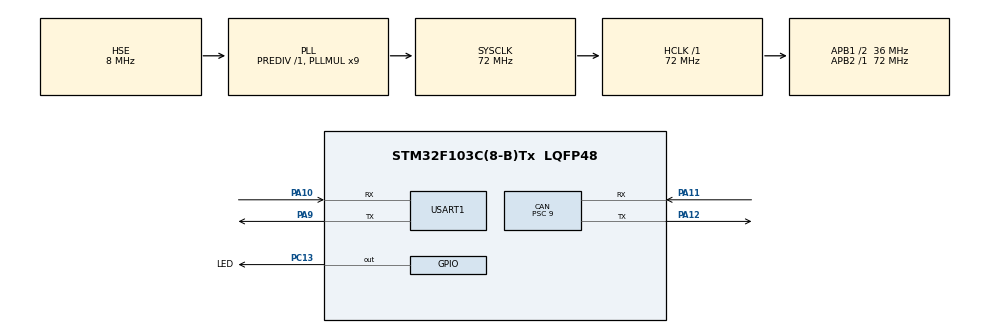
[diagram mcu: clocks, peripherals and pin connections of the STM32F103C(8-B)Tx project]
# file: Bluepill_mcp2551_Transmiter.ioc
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CAN.BS1=CAN_BS1_12TQ
CAN.BS2=CAN_BS2_3TQ
CAN.CalculateBaudRate=250000
CAN.CalculateTimeBit=4000
CAN.CalculateTimeQuantum=250.0
CAN.Prescaler=9
Mcu.Family=STM32F1
Mcu.Name=STM32F103C(8-B)Tx
Mcu.Package=LQFP48
NVIC.CAN1_RX1_IRQn=true\:0\:0\:false\:false\:true\:true\:true\:true
NVIC.PriorityGroup=NVIC_PRIORITYGROUP_4
PA10.Mode=Asynchronous
PA10.Signal=USART1_RX
PA11.Mode=CAN_Activate
PA11.Signal=CAN_RX
PA12.Mode=CAN_Activate
PA12.Signal=CAN_TX
PA13.Mode=Serial_Wire
PA13.Signal=SYS_JTMS-SWDIO
PA14.Mode=Serial_Wire
PA14.Signal=SYS_JTCK-SWCLK
PA9.Mode=Asynchronous
PA9.Signal=USART1_TX
PC13-TAMPER-RTC.GPIO_Label=LED
PC13-TAMPER-RTC.GPIO_ModeDefaultOutputPP=GPIO_MODE_OUTPUT_OD
PC13-TAMPER-RTC.GPIO_PuPd=GPIO_NOPULL
PC13-TAMPER-RTC.PinState=GPIO_PIN_SET
PC13-TAMPER-RTC.Signal=GPIO_Output
PD0-OSC_IN.Mode=HSE-External-Oscillator
PD0-OSC_IN.Signal=RCC_OSC_IN
PD1-OSC_OUT.Mode=HSE-External-Oscillator
PD1-OSC_OUT.Signal=RCC_OSC_OUT
ProjectManager.HeapSize=0x200
ProjectManager.StackSize=0x400
ProjectManager.TargetToolchain=STM32CubeIDE
RCC.AHBFreq_Value=72000000
RCC.APB1CLKDivider=RCC_HCLK_DIV2
RCC.APB1Freq_Value=36000000
RCC.APB1TimFreq_Value=72000000
RCC.APB2Freq_Value=72000000
RCC.APB2TimFreq_Value=72000000
RCC.HCLKFreq_Value=72000000
RCC.PLLMUL=RCC_PLL_MUL9
RCC.PLLSourceVirtual=RCC_PLLSOURCE_HSE
RCC.SYSCLKFreq_VALUE=72000000
RCC.SYSCLKSource=RCC_SYSCLKSOURCE_PLLCLK
RCC.USBFreq_Value=72000000
USART1.VirtualMode=VM_ASYNC
board=custom

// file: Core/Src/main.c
/* USER CODE BEGIN Header */
/**
  ******************************************************************************
  * @file           : main.c
  * @brief          : Main program body
  ******************************************************************************
  * @attention
  *
  * Copyright (c) 2026 STMicroelectronics.
  * All rights reserved.
  *
  * This software is licensed under terms that can be found in the LICENSE file
  * in the root directory of this software component.
  * If no LICENSE file comes with this software, it is provided AS-IS.
  *
  ******************************************************************************
  */
/* USER CODE END Header */
#include "main.h"

/* USER CODE BEGIN Includes */
#include<stdio.h>
#include<string.h>
/* USER CODE END Includes */

/* USER CODE BEGIN PTD */
#define CAN_ID_Tx 0b11001111100
#define CAN_ID_Rx 0b11001111101

#define CAN_First_ID 0b11001111100
#define CAN_Rx_MASK 0b11111111100
/* USER CODE END PTD */

CAN_HandleTypeDef hcan;

UART_HandleTypeDef huart1;

/* USER CODE BEGIN PV */
CAN_TxHeaderTypeDef TxHeader;

CAN_FilterTypeDef filterConfig;

uint8_t testData[]={0x01, 0x02, 0x03, 0x04, 0x05, 0x06, 0x07, 0x08};

/* USER CODE END PV */

void SystemClock_Config(void);
static void MX_GPIO_Init(void);
static void MX_CAN_Init(void);
static void MX_USART1_UART_Init(void);

/* USER CODE BEGIN 0 */

int _write(int fd, char *ptr, int len){
	if(fd==1 || fd==2){
		if(HAL_UART_Transmit(&huart1, (uint8_t *)ptr, len, HAL_MAX_DELAY)==HAL_OK) return len;
		else return -1;
	}

	else return 0;
}

/* USER CODE END 0 */

int main(void)
{

  /* MCU Configuration--------------------------------------------------------*/

  /* Reset of all peripherals, Initializes the Flash interface and the Systick. */
  HAL_Init();

  /* Configure the system clock */
  SystemClock_Config();

  /* Initialize all configured peripherals */
  MX_GPIO_Init();
  MX_CAN_Init();
  MX_USART1_UART_Init();
  /* USER CODE BEGIN 2 */
  uint32_t now=0, nextBlink=500, nextTransmit=1000;

  //Transmission message header
  TxHeader.StdId=CAN_ID_Tx;
  TxHeader.IDE=CAN_ID_STD;
  TxHeader.DLC=8;
  TxHeader.RTR=CAN_RTR_DATA;

  //Receive filter
  filterConfig.FilterActivation=CAN_FILTER_ENABLE;
  filterConfig.FilterMode=CAN_FILTERMODE_IDMASK;
  filterConfig.FilterIdLow=0x0000; //CAN_First_ID<<5;
  filterConfig.FilterMaskIdLow=0x0000; //CAN_Rx_MASK<<5;
  filterConfig.FilterBank=0;
  filterConfig.FilterScale=CAN_FILTERSCALE_16BIT;
  filterConfig.FilterFIFOAssignment=CAN_FILTER_FIFO0;
  filterConfig.SlaveStartFilterBank = 14;

  HAL_CAN_ConfigFilter(&hcan, &filterConfig);
  HAL_CAN_Start(&hcan);

  uint32_t msgCount=0;
  uint32_t TxMailBox=0; //just for syntax in HAL_CAN_AddTx function
  /* USER CODE END 2 */

  /* Infinite loop */
  /* USER CODE BEGIN WHILE */
  while (1)
  {
	  now=uwTick;

	  if(now>nextBlink){
		  HAL_GPIO_TogglePin(LED_GPIO_Port, LED_Pin);
		  printf("Message count= %lu\r\n", msgCount);
		  nextBlink+=500;
	  }

	  if(now>nextTransmit && HAL_CAN_GetTxMailboxesFreeLevel(&hcan)!=0){
		  if(HAL_CAN_AddTxMessage(&hcan, &TxHeader, testData, &TxMailBox)==HAL_OK) msgCount++;
		  else Error_Handler();
	  }
    /* USER CODE END WHILE */

  }
}

void SystemClock_Config(void)
{
  RCC_OscInitTypeDef RCC_OscInitStruct = {0};
  RCC_ClkInitTypeDef RCC_ClkInitStruct = {0};

  /** Initializes the RCC Oscillators according to the specified parameters
  * in the RCC_OscInitTypeDef structure.
  */
  RCC_OscInitStruct.OscillatorType = RCC_OSCILLATORTYPE_HSE;
  RCC_OscInitStruct.HSEState = RCC_HSE_ON;
  RCC_OscInitStruct.HSEPredivValue = RCC_HSE_PREDIV_DIV1;
  RCC_OscInitStruct.HSIState = RCC_HSI_ON;
  RCC_OscInitStruct.PLL.PLLState = RCC_PLL_ON;
  RCC_OscInitStruct.PLL.PLLSource = RCC_PLLSOURCE_HSE;
  RCC_OscInitStruct.PLL.PLLMUL = RCC_PLL_MUL9;
  if (HAL_RCC_OscConfig(&RCC_OscInitStruct) != HAL_OK)
  {
    Error_Handler();
  }

  /** Initializes the CPU, AHB and APB buses clocks
  */
  RCC_ClkInitStruct.ClockType = RCC_CLOCKTYPE_HCLK|RCC_CLOCKTYPE_SYSCLK
                              |RCC_CLOCKTYPE_PCLK1|RCC_CLOCKTYPE_PCLK2;
  RCC_ClkInitStruct.SYSCLKSource = RCC_SYSCLKSOURCE_PLLCLK;
  RCC_ClkInitStruct.AHBCLKDivider = RCC_SYSCLK_DIV1;
  RCC_ClkInitStruct.APB1CLKDivider = RCC_HCLK_DIV2;
  RCC_ClkInitStruct.APB2CLKDivider = RCC_HCLK_DIV1;

  if (HAL_RCC_ClockConfig(&RCC_ClkInitStruct, FLASH_LATENCY_2) != HAL_OK)
  {
    Error_Handler();
  }
}

static void MX_CAN_Init(void)
{

  hcan.Instance = CAN1;
  hcan.Init.Prescaler = 9;
  hcan.Init.Mode = CAN_MODE_NORMAL;
  hcan.Init.SyncJumpWidth = CAN_SJW_1TQ;
  hcan.Init.TimeSeg1 = CAN_BS1_12TQ;
  hcan.Init.TimeSeg2 = CAN_BS2_3TQ;
  hcan.Init.TimeTriggeredMode = DISABLE;
  hcan.Init.AutoBusOff = DISABLE;
  hcan.Init.AutoWakeUp = DISABLE;
  hcan.Init.AutoRetransmission = DISABLE;
  hcan.Init.ReceiveFifoLocked = DISABLE;
  hcan.Init.TransmitFifoPriority = DISABLE;
  if (HAL_CAN_Init(&hcan) != HAL_OK)
  {
    Error_Handler();
  }

}

static void MX_USART1_UART_Init(void)
{

  huart1.Instance = USART1;
  huart1.Init.BaudRate = 115200;
  huart1.Init.WordLength = UART_WORDLENGTH_8B;
  huart1.Init.StopBits = UART_STOPBITS_1;
  huart1.Init.Parity = UART_PARITY_NONE;
  huart1.Init.Mode = UART_MODE_TX_RX;
  huart1.Init.HwFlowCtl = UART_HWCONTROL_NONE;
  huart1.Init.OverSampling = UART_OVERSAMPLING_16;
  if (HAL_UART_Init(&huart1) != HAL_OK)
  {
    Error_Handler();
  }

}

static void MX_GPIO_Init(void)
{
  GPIO_InitTypeDef GPIO_InitStruct = {0};

  /* GPIO Ports Clock Enable */
  __HAL_RCC_GPIOC_CLK_ENABLE();
  __HAL_RCC_GPIOD_CLK_ENABLE();
  __HAL_RCC_GPIOA_CLK_ENABLE();

  /*Configure GPIO pin Output Level */
  HAL_GPIO_WritePin(LED_GPIO_Port, LED_Pin, GPIO_PIN_SET);

  /*Configure GPIO pin : LED_Pin */
  GPIO_InitStruct.Pin = LED_Pin;
  GPIO_InitStruct.Mode = GPIO_MODE_OUTPUT_OD;
  GPIO_InitStruct.Pull = GPIO_NOPULL;
  GPIO_InitStruct.Speed = GPIO_SPEED_FREQ_LOW;
  HAL_GPIO_Init(LED_GPIO_Port, &GPIO_InitStruct);

}

void Error_Handler(void)
{
  __disable_irq();
  while (1)
  {
  }
}
